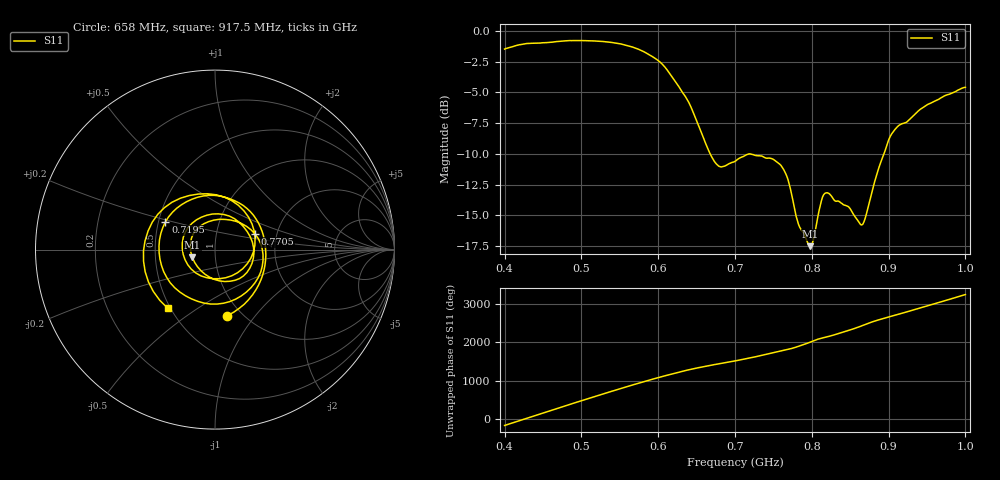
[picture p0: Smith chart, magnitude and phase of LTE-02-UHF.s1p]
! NanoVNA-App
! Date: 2026-05-22 21:35:33
! Start: 400MHz Stop: 1GHz Points: 401
! S-Parameter data: F S11
# Hz S RI R 50
!  Frequency  S11_Real  S11_Imag
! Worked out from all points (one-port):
!   401 points, 400 MHz to 1 GHz, reference 50 ohm
!   lowest |S11| = -17.5 dB at 797.5 MHz (marker M1), VSWR 1.31, Z = 38.7 - j3.42 ohm
!   |S11| at or under -10 dB: 667.8 MHz to 717.7 MHz (49.95 MHz wide, 7.21 % of centre); 720.1 MHz to 893.9 MHz (173.7 MHz wide, 21.5 % of centre)
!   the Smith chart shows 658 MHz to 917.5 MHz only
!   S11 on the Smith chart (normalised r, x): 658 MHz: 0.86, -0.73; 719.5 MHz: 0.54, +0.19; 770.5 MHz: 1.54, +0.28; 917.5 MHz: 0.48, -0.38
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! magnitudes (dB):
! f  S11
! 400 MHz  -1.5
! 475 MHz  -0.8
! 550 MHz  -1.0
! 596.5 MHz  -2.2
! 625 MHz  -4.3
! 640 MHz  -5.8
! 658 MHz  -8.5
! 677.5 MHz  -10.9
! 700 MHz  -10.6
! 719.5 MHz  -10.0
! 755.5 MHz  -10.7
! 764.5 MHz  -11.4
! 770.5 MHz  -12.4
! 775 MHz  -13.7
! 782.5 MHz  -15.7
! 797.5 MHz  -17.5
! 802 MHz  -17.0
! 811 MHz  -14.2
! 817 MHz  -13.2
! 850 MHz  -14.5
! 862 MHz  -15.6
! 866.5 MHz  -15.7
! 886 MHz  -11.4
! 899.5 MHz  -9.0
! 917.5 MHz  -7.5
! 925 MHz  -7.3
! 949 MHz  -6.0
! 1 GHz  -4.6
